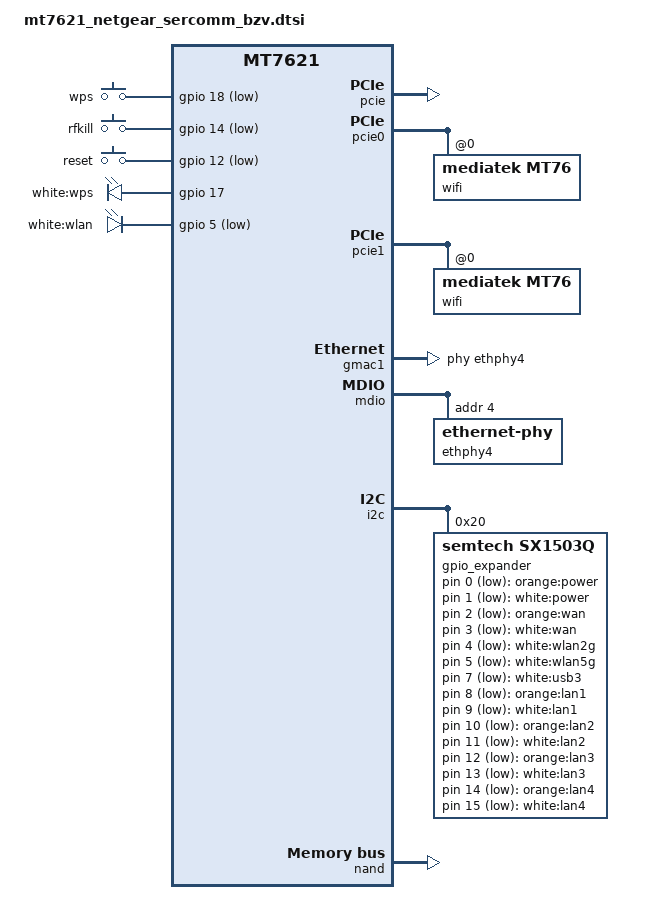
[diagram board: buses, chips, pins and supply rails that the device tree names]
// SPDX-License-Identifier: GPL-2.0-only

#include "mt7621.dtsi"

#include <dt-bindings/gpio/gpio.h>
#include <dt-bindings/input/input.h>

/ {
	compatible = "mediatek,mt7621-soc";

	aliases {
		label-mac-device = &gmac0;
		led-boot = &led_power_white;
		led-failsafe = &led_power_orange;
		led-running = &led_power_white;
		led-upgrade = &led_power_orange;
	};

	keys {
		compatible = "gpio-keys";

		wps {
			label = "wps";
			gpios = <&gpio 18 GPIO_ACTIVE_LOW>;
			linux,code = <KEY_WPS_BUTTON>;
		};

		rfkill {
			label = "rfkill";
			gpios = <&gpio 14 GPIO_ACTIVE_LOW>;
			linux,code = <KEY_RFKILL>;
		};

		reset {
			label = "reset";
			gpios = <&gpio 12 GPIO_ACTIVE_LOW>;
			linux,code = <KEY_RESTART>;
		};
	};

	leds: leds {
		compatible = "gpio-leds";

		led_power_orange: power_orange {
			gpios = <&gpio_expander 0 GPIO_ACTIVE_LOW>;
			label = "orange:power";
		};

		led_power_white: power_white {
			gpios = <&gpio_expander 1 GPIO_ACTIVE_LOW>;
			label = "white:power";
		};

		wan_orange {
			gpios = <&gpio_expander 2 GPIO_ACTIVE_LOW>;
			label = "orange:wan";
		};

		wan_white {
			gpios = <&gpio_expander 3 GPIO_ACTIVE_LOW>;
			label = "white:wan";
		};

		wlan2g {
			gpios = <&gpio_expander 4 GPIO_ACTIVE_LOW>;
			label = "white:wlan2g";
			linux,default-trigger = "phy0radio";
		};

		wlan5g {
			gpios = <&gpio_expander 5 GPIO_ACTIVE_LOW>;
			label = "white:wlan5g";
			linux,default-trigger = "phy1radio";
		};

		usb3 {
			gpios = <&gpio_expander 7 GPIO_ACTIVE_LOW>;
			label = "white:usb3";
			linux,default-trigger = "usbport";
			trigger-sources = <&xhci_ehci_port1>;
		};

		lan1_orange {
			gpios = <&gpio_expander 8 GPIO_ACTIVE_LOW>;
			label = "orange:lan1";
		};

		lan1_white {
			gpios = <&gpio_expander 9 GPIO_ACTIVE_LOW>;
			label = "white:lan1";
		};

		lan2_orange {
			gpios = <&gpio_expander 10 GPIO_ACTIVE_LOW>;
			label = "orange:lan2";
		};

		lan2_white {
			gpios = <&gpio_expander 11 GPIO_ACTIVE_LOW>;
			label = "white:lan2";
		};

		lan3_orange {
			gpios = <&gpio_expander 12 GPIO_ACTIVE_LOW>;
			label = "orange:lan3";
		};

		lan3_white {
			gpios = <&gpio_expander 13 GPIO_ACTIVE_LOW>;
			label = "white:lan3";
		};

		lan4_orange {
			gpios = <&gpio_expander 14 GPIO_ACTIVE_LOW>;
			label = "orange:lan4";
		};

		lan4_white {
			gpios = <&gpio_expander 15 GPIO_ACTIVE_LOW>;
			label = "white:lan4";
		};

		wps {
			gpios = <&gpio 17 GPIO_ACTIVE_HIGH>;
			label = "white:wps";
		};

		wlan {
			gpios = <&gpio 5 GPIO_ACTIVE_LOW>;
			label = "white:wlan";
		};
	};
};

&state_default {
	gpio {
		groups = "uart3", "uart2", "jtag", "wdt";
		function = "gpio";
	};
};

&pcie {
	status = "okay";
};

&pcie0 {
	wifi@0,0 {
		compatible = "mediatek,mt76";
		reg = <0x0 0 0 0 0>;
		mediatek,mtd-eeprom = <&factory 0x0>;
		ieee80211-freq-limit = <2400000 2500000>;
	};
};

&pcie1 {
	wifi@0,0 {
		compatible = "mediatek,mt76";
		reg = <0x0 0 0 0 0>;
		mediatek,mtd-eeprom = <&factory 0x8000>;
		ieee80211-freq-limit = <5000000 6000000>;
	};
};

&gmac0 {
	nvmem-cells = <&macaddr_factory_4>;
	nvmem-cell-names = "mac-address";
};

&gmac1 {
	status = "okay";
	label = "wan";
	phy-handle = <&ethphy4>;

	nvmem-cells = <&macaddr_factory_4>;
	nvmem-cell-names = "mac-address";
	mac-address-increment = <2>;
};

&mdio {
	ethphy4: ethernet-phy@4 {
		reg = <4>;
	};
};

&switch0 {
	ports {
		port@0 {
			status = "okay";
			label = "lan4";
		};

		port@1 {
			status = "okay";
			label = "lan3";
		};

		port@2 {
			status = "okay";
			label = "lan2";
		};

		port@3 {
			status = "okay";
			label = "lan1";
		};
	};
};

&i2c {
	status = "okay";

	gpio_expander: i2c0gpio-expander@20{
		#gpio-cells = <2>;
		#interrupt-cells = <2>;
		compatible = "semtech,sx1503q";
		reg = <0x20>;

		gpio-controller;
	};
};

&nand {
	status = "okay";

	partitions {
		compatible = "sercomm,sc-partitions", "fixed-partitions";
		#address-cells = <1>;
		#size-cells = <1>;

		partition@0 {
			label = "u-boot";
			reg = <0x0 0x100000>;
			sercomm,scpart-id = <0>;
			read-only;
		};

		partition@100000 {
			label = "SC PART_MAP";
			reg = <0x100000 0x100000>;
			sercomm,scpart-id = <1>;
			read-only;
		};

		partition@200000 {
			label = "kernel";
			reg = <0x200000 0x400000>;
			sercomm,scpart-id = <2>;
		};

		partition@600000 {
			label = "ubi";
			reg = <0x600000 0x2800000>;
			sercomm,scpart-id = <3>;
		};

		partition@2e00000 {
			label = "English UI";
			reg = <0x2e00000 0x200000>;
			sercomm,scpart-id = <4>;
			read-only;
		};

		partition@3000000 {
			label = "ML1";
			reg = <0x3000000 0x200000>;
			sercomm,scpart-id = <5>;
			read-only;
		};

		partition@3200000 {
			label = "ML2";
			reg = <0x3200000 0x200000>;
			sercomm,scpart-id = <6>;
			read-only;
		};

		partition@3400000 {
			label = "ML3";
			reg = <0x3400000 0x200000>;
			sercomm,scpart-id = <7>;
			read-only;
		};

		partition@3600000 {
			label = "ML4";
			reg = <0x3600000 0x200000>;
			sercomm,scpart-id = <8>;
			read-only;
		};

		partition@3800000 {
			label = "ML5";
			reg = <0x3800000 0x200000>;
			sercomm,scpart-id = <9>;
			read-only;
		};

		partition@3a00000 {
			label = "ML6";
			reg = <0x3a00000 0x200000>;
			sercomm,scpart-id = <10>;
			read-only;
		};

		partition@3c00000 {
			label = "ML7";
			reg = <0x3c00000 0x200000>;
			sercomm,scpart-id = <11>;
			read-only;
		};

		partition@3e00000 {
			label = "ML8";
			reg = <0x3e00000 0x200000>;
			sercomm,scpart-id = <12>;
			read-only;
		};

		partition@4000000 {
			label = "ML9";
			reg = <0x4000000 0x200000>;
			sercomm,scpart-id = <13>;
			read-only;
		};

		partition@4200000 {
			label = "ML10";
			reg = <0x4200000 0x200000>;
			sercomm,scpart-id = <14>;
			read-only;
		};

		partition@4400000 {
			label = "ML11";
			reg = <0x4400000 0x200000>;
			sercomm,scpart-id = <15>;
			read-only;
		};

		factory: partition@4600000 {
			label = "factory";
			reg = <0x4600000 0x200000>;
			sercomm,scpart-id = <16>;
			read-only;
		};

		partition@4800000 {
			label = "SC Private Data";
			reg = <0x4800000 0x200000>;
			sercomm,scpart-id = <17>;
			read-only;
		};

		partition@4a00000 {
			label = "POT";
			reg = <0x4a00000 0x200000>;
			sercomm,scpart-id = <18>;
			read-only;
		};

		partition@4c00000 {
			label = "Traffic Meter";
			reg = <0x4c00000 0x200000>;
			sercomm,scpart-id = <19>;
			read-only;
		};

		partition@4e00000 {
			label = "SC PID";
			reg = <0x4e00000 0x200000>;
			sercomm,scpart-id = <20>;
			read-only;
		};

		partition@5000000 {
			label = "SC Nvram";
			reg = <0x5000000 0x200000>;
			sercomm,scpart-id = <21>;
			read-only;
		};

		partition@5200000 {
			label = "Ralink Nvram";
			reg = <0x5200000 0x200000>;
			sercomm,scpart-id = <22>;
			read-only;
		};

		partition@5400000 {
			label = "reserved0";
			reg = <0x5400000 0x200000>;
			sercomm,scpart-id = <23>;
			read-only;
		};

		partition@5600000 {
			label = "reserved1";
			reg = <0x5600000 0x200000>;
			sercomm,scpart-id = <24>;
			read-only;
		};

		partition@5800000 {
			label = "reserved2";
			reg = <0x5800000 0x200000>;
			sercomm,scpart-id = <25>;
			read-only;
		};

		partition@5a00000 {
			label = "reserved3";
			reg = <0x5a00000 0x200000>;
			sercomm,scpart-id = <26>;
			read-only;
		};

		partition@5c00000 {
			label = "reserved4";
			reg = <0x5c00000 0x200000>;
			sercomm,scpart-id = <27>;
			read-only;
		};

		partition@5e00000 {
			label = "reserved5";
			reg = <0x5e00000 0x2180000>;
			sercomm,scpart-id = <28>;
			read-only;
		};
	};
};

&factory {
	compatible = "nvmem-cells";
	#address-cells = <1>;
	#size-cells = <1>;

	macaddr_factory_4: macaddr@4 {
		reg = <0x4 0x6>;
	};
};
